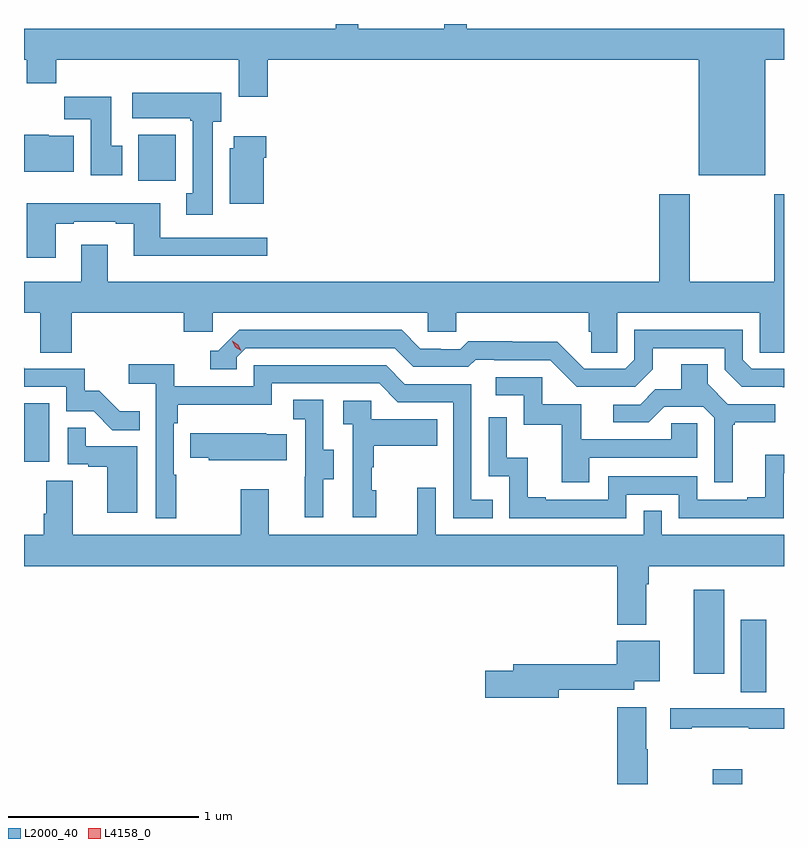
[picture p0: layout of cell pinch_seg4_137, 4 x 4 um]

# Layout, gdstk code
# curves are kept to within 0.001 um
import gdstk
lib = gdstk.Library(unit=1e-6, precision=1e-09)
def R(c, l, rs):  # rectangles x0, y0, x1, y1
    for r in rs: c.add(gdstk.rectangle(r[:2], r[2:], *l))
def P(c, l, *ps):  # polygons
    for p in ps: c.add(gdstk.Polygon(p, *l))
L2000_40 = (2000, 40)
L4158_0 = (4158, 0)

pinch_seg4_137 = lib.new_cell('pinch_seg4_137')
R(pinch_seg4_137, L2000_40, [(1133.788,804.997,1133.943,805.075), (1133.936,805.48,1134.07,805.861), (1133.687,805.578,1133.848,806.02), (1130.163,806.694,1130.296,807.001), (1130.765,808.172,1130.962,808.414)])
P(pinch_seg4_137, L2000_40, [(1134.064,808.808),(1134.163,808.808),(1134.163,808.972),(1132.493,808.972),(1132.493,808.997),(1132.376,808.997),(1132.376,808.972),(1131.923,808.972),(1131.923,808.997),(1131.805,808.997),(1131.805,808.972),(1130.163,808.972),(1130.163,808.808),(1130.177,808.808),(1130.177,808.684),(1130.333,808.684),(1130.333,808.808),(1131.293,808.808),(1131.293,808.614),(1131.446,808.614),(1131.446,808.808),(1133.714,808.808),(1133.714,808.202),(1134.064,808.202)],
  [(1131.157,808.482),(1131.202,808.482),(1131.202,808.636),(1130.733,808.636),(1130.733,808.502),(1131.037,808.502),(1131.037,808.489),(1131.05,808.489),(1131.05,808.106),(1131.017,808.106),(1131.017,807.993),(1131.157,807.993)],
  [(1130.68,808.356),(1130.623,808.356),(1130.623,808.615),(1130.374,808.615),(1130.374,808.496),(1130.513,808.496),(1130.513,808.2),(1130.68,808.2)],
  [(1130.425,808.408),(1130.292,808.408),(1130.292,808.414),(1130.163,808.414),(1130.163,808.22),(1130.425,808.22)],
  [(1131.424,808.292),(1131.437,808.292),(1131.437,808.405),(1131.266,808.405),(1131.266,808.344),(1131.245,808.344),(1131.245,808.052),(1131.424,808.052)],
  [(1130.414,807.476),(1131.005,807.476),(1131.005,807.378),(1131.156,807.378),(1131.156,807.476),(1132.287,807.476),(1132.287,807.378),(1132.437,807.378),(1132.437,807.476),(1133.135,807.476),(1133.135,807.378),(1133.149,807.378),(1133.149,807.268),(1133.286,807.268),(1133.286,807.476),(1134.036,807.476),(1134.036,807.268),(1134.163,807.268),(1134.163,808.102),(1134.112,808.102),(1134.112,807.64),(1133.667,807.64),(1133.667,808.102),(1133.507,808.102),(1133.507,807.64),(1130.605,807.64),(1130.605,807.835),(1130.465,807.835),(1130.465,807.64),(1130.163,807.64),(1130.163,807.476),(1130.249,807.476),(1130.249,807.268),(1130.414,807.268)],
  [(1130.329,807.945),(1130.425,807.945),(1130.425,807.957),(1130.645,807.957),(1130.645,807.945),(1130.741,807.945),(1130.741,807.776),(1131.442,807.776),(1131.442,807.873),(1130.881,807.873),(1130.881,808.054),(1130.177,808.054),(1130.177,807.768),(1130.329,807.768)],
  [(1134.163,807.183),(1133.994,807.183),(1133.946,807.231),(1133.946,807.387),(1133.376,807.387),(1133.376,807.231),(1133.328,807.183),(1133.112,807.183),(1132.97,807.325),(1132.734,807.325),(1132.734,807.328),(1132.501,807.328),(1132.459,807.285),(1132.356,807.285),(1132.356,807.288),(1132.249,807.288),(1132.15,807.387),(1131.297,807.387),(1131.186,807.276),(1131.143,807.276),(1131.143,807.18),(1131.282,807.18),(1131.282,807.243),(1131.33,807.291),(1132.113,807.291),(1132.212,807.192),(1132.501,807.192),(1132.54,807.231),(1132.639,807.231),(1132.639,807.228),(1132.932,807.228),(1133.073,807.087),(1133.379,807.087),(1133.473,807.181),(1133.473,807.291),(1133.85,807.291),(1133.85,807.177),(1133.94,807.087),(1134.163,807.086)],
  [(1130.965,806.624),(1130.952,806.624),(1130.952,806.897),(1130.972,806.897),(1130.972,806.993),(1131.468,806.993),(1131.468,807.105),(1132.032,807.105),(1132.131,807.006),(1132.422,807.006),(1132.422,806.397),(1132.631,806.397),(1132.631,806.493),(1132.518,806.493),(1132.518,807.102),(1132.168,807.102),(1132.069,807.201),(1131.372,807.201),(1131.372,807.09),(1130.954,807.09),(1130.954,807.206),(1130.715,807.206),(1130.715,807.104),(1130.856,807.104),(1130.856,806.397),(1130.965,806.397)],
  [(1133.893,806.889),(1133.905,806.889),(1133.905,806.9),(1134.118,806.9),(1134.118,806.997),(1133.868,806.997),(1133.761,807.104),(1133.761,807.206),(1133.621,807.206),(1133.621,807.074),(1133.486,807.074),(1133.406,806.994),(1133.265,806.994),(1133.265,806.901),(1133.452,806.901),(1133.533,806.982),(1133.739,806.982),(1133.796,806.925),(1133.796,806.586),(1133.893,806.586)],
  [(1130.771,806.959),(1130.667,806.959),(1130.56,807.066),(1130.484,807.066),(1130.484,807.183),(1130.165,807.183),(1130.165,807.188),(1130.163,807.188),(1130.163,807.087),(1130.385,807.087),(1130.385,806.958),(1130.529,806.958),(1130.627,806.86),(1130.771,806.86)],
  [(1133.137,806.715),(1133.706,806.715),(1133.706,806.895),(1133.569,806.895),(1133.569,806.811),(1133.095,806.811),(1133.095,806.997),(1132.89,806.997),(1132.89,807.138),(1132.647,807.138),(1132.647,807.042),(1132.794,807.042),(1132.794,806.889),(1132.993,806.889),(1132.993,806.586),(1133.137,806.586)],
  [(1131.739,806.602),(1131.793,806.602),(1131.793,806.757),(1131.738,806.757),(1131.738,807.02),(1131.579,807.02),(1131.579,806.917),(1131.642,806.917),(1131.642,806.613),(1131.641,806.613),(1131.641,806.4),(1131.739,806.4)],
  [(1132.018,806.544),(1131.993,806.544),(1131.993,806.663),(1132.003,806.663),(1132.003,806.777),(1132.337,806.777),(1132.337,806.917),(1131.99,806.917),(1131.99,807.015),(1131.843,807.015),(1131.843,806.891),(1131.894,806.891),(1131.894,806.4),(1132.018,806.4)],
  [(1133.334,806.52),(1133.61,806.52),(1133.61,806.397),(1134.162,806.397),(1134.162,806.633),(1134.163,806.633),(1134.163,806.731),(1134.065,806.731),(1134.065,806.506),(1133.969,806.506),(1133.969,806.493),(1133.706,806.493),(1133.706,806.616),(1133.238,806.616),(1133.238,806.493),(1132.909,806.493),(1132.909,806.506),(1132.814,806.506),(1132.814,806.714),(1132.704,806.714),(1132.704,806.926),(1132.608,806.926),(1132.608,806.616),(1132.716,806.616),(1132.716,806.397),(1133.334,806.397)],
  [(1130.758,806.775),(1130.489,806.775),(1130.489,806.873),(1130.394,806.873),(1130.394,806.679),(1130.501,806.679),(1130.501,806.667),(1130.6,806.667),(1130.6,806.424),(1130.758,806.424)],
  [(1131.545,806.839),(1131.437,806.839),(1131.437,806.842),(1131.037,806.842),(1131.037,806.713),(1131.135,806.713),(1131.135,806.702),(1131.545,806.702)],
  [(1133.437,806.048),(1133.45,806.048),(1133.45,806.144),(1134.163,806.144),(1134.163,806.308),(1133.52,806.308),(1133.52,806.435),(1133.424,806.435),(1133.424,806.308),(1132.329,806.308),(1132.329,806.557),(1132.232,806.557),(1132.232,806.308),(1131.451,806.308),(1131.451,806.548),(1131.304,806.548),(1131.304,806.308),(1130.419,806.308),(1130.419,806.594),(1130.279,806.594),(1130.279,806.42),(1130.267,806.42),(1130.267,806.308),(1130.163,806.308),(1130.163,806.144),(1133.285,806.144),(1133.285,805.835),(1133.437,805.835)],
  [(1132.978,805.492),(1133.376,805.492),(1133.376,805.538),(1133.509,805.538),(1133.509,805.75),(1133.282,805.75),(1133.282,805.628),(1132.739,805.628),(1132.739,805.592),(1132.59,805.592),(1132.59,805.45),(1132.978,805.45)],
  [(1133.445,805.181),(1133.437,805.181),(1133.437,805.402),(1133.285,805.402),(1133.285,804.997),(1133.445,804.997)],
  [(1133.677,805.297),(1133.977,805.297),(1133.977,805.287),(1134.163,805.287),(1134.163,805.395),(1133.84,805.395),(1133.84,805.397),(1133.565,805.397),(1133.565,805.287),(1133.677,805.287)])
P(pinch_seg4_137, L4158_0, [(1131.307,807.278),(1131.276,807.297),(1131.259,807.329),(1131.259,807.329),(1131.259,807.329),(1131.29,807.31),(1131.307,807.278),(1131.307,807.278)])

lib.write_gds('pinch_seg4_137.gds')
